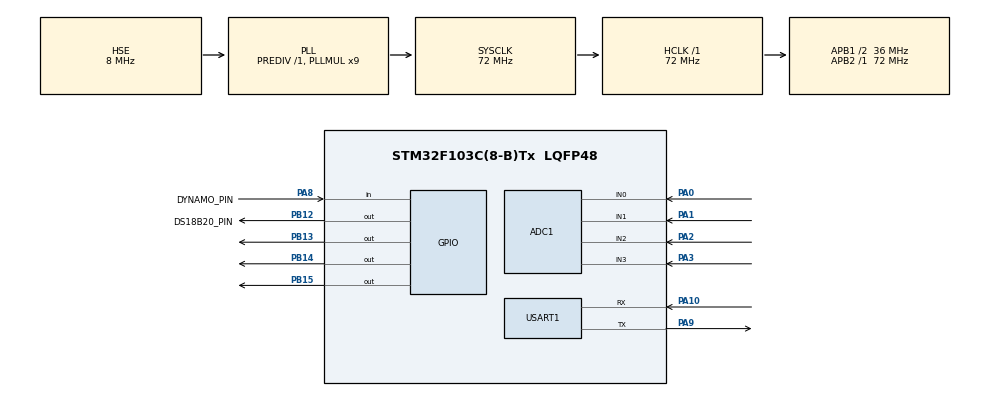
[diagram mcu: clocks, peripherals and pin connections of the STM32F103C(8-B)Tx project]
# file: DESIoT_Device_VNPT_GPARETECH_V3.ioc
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ADC1.Channel-4\#ChannelRegularConversion=ADC_CHANNEL_0
ADC1.Channel-5\#ChannelRegularConversion=ADC_CHANNEL_1
ADC1.Channel-6\#ChannelRegularConversion=ADC_CHANNEL_2
ADC1.Channel-7\#ChannelRegularConversion=ADC_CHANNEL_3
ADC1.NbrOfConversion=4
ADC1.NbrOfConversionFlag=1
ADC1.Rank-4\#ChannelRegularConversion=1
ADC1.Rank-5\#ChannelRegularConversion=2
ADC1.Rank-6\#ChannelRegularConversion=3
ADC1.Rank-7\#ChannelRegularConversion=4
ADC1.SamplingTime-4\#ChannelRegularConversion=ADC_SAMPLETIME_13CYCLES_5
ADC1.SamplingTime-5\#ChannelRegularConversion=ADC_SAMPLETIME_13CYCLES_5
ADC1.SamplingTime-6\#ChannelRegularConversion=ADC_SAMPLETIME_13CYCLES_5
ADC1.SamplingTime-7\#ChannelRegularConversion=ADC_SAMPLETIME_13CYCLES_5
ADC1.master=1
Dma.ADC1.0.Direction=DMA_PERIPH_TO_MEMORY
Dma.ADC1.0.Instance=DMA1_Channel1
Dma.ADC1.0.MemDataAlignment=DMA_MDATAALIGN_HALFWORD
Dma.ADC1.0.MemInc=DMA_MINC_ENABLE
Dma.ADC1.0.Mode=DMA_CIRCULAR
Dma.ADC1.0.PeriphDataAlignment=DMA_PDATAALIGN_HALFWORD
Dma.ADC1.0.PeriphInc=DMA_PINC_DISABLE
Dma.ADC1.0.Priority=DMA_PRIORITY_LOW
Dma.Request0=ADC1
Mcu.Family=STM32F1
Mcu.Name=STM32F103C(8-B)Tx
Mcu.Package=LQFP48
NVIC.ADC1_2_IRQn=true\:0\:0\:false\:false\:true\:true\:true\:true
NVIC.DMA1_Channel1_IRQn=true\:0\:0\:false\:false\:true\:false\:true\:true
NVIC.PriorityGroup=NVIC_PRIORITYGROUP_4
NVIC.USART1_IRQn=true\:0\:0\:false\:false\:true\:true\:true\:true
PA0-WKUP.Signal=ADCx_IN0
PA1.Signal=ADCx_IN1
PA10.Mode=Asynchronous
PA10.Signal=USART1_RX
PA13.Mode=Serial_Wire
PA13.Signal=SYS_JTMS-SWDIO
PA14.Mode=Serial_Wire
PA14.Signal=SYS_JTCK-SWCLK
PA2.Signal=ADCx_IN2
PA3.Signal=ADCx_IN3
PA8.GPIO_Label=DYNAMO_PIN
PA8.Signal=GPIO_Input
PA9.Mode=Asynchronous
PA9.Signal=USART1_TX
PB12.GPIO_Label=DS18B20_PIN
PB12.Signal=GPIO_Output
PB13.Signal=GPIO_Output
PB14.Signal=GPIO_Output
PB15.Signal=GPIO_Output
PD0-OSC_IN.Mode=HSE-External-Oscillator
PD0-OSC_IN.Signal=RCC_OSC_IN
PD1-OSC_OUT.Mode=HSE-External-Oscillator
PD1-OSC_OUT.Signal=RCC_OSC_OUT
ProjectManager.HeapSize=0x200
ProjectManager.StackSize=0x400
ProjectManager.TargetToolchain=STM32CubeIDE
RCC.ADCPresc=RCC_ADCPCLK2_DIV6
RCC.AHBFreq_Value=72000000
RCC.APB1CLKDivider=RCC_HCLK_DIV2
RCC.APB1Freq_Value=36000000
RCC.APB1TimFreq_Value=72000000
RCC.APB2Freq_Value=72000000
RCC.APB2TimFreq_Value=72000000
RCC.HCLKFreq_Value=72000000
RCC.PLLMUL=RCC_PLL_MUL9
RCC.PLLSourceVirtual=RCC_PLLSOURCE_HSE
RCC.SYSCLKFreq_VALUE=72000000
RCC.SYSCLKSource=RCC_SYSCLKSOURCE_PLLCLK
RCC.USBFreq_Value=72000000
SH.ADCx_IN0.0=ADC1_IN0,IN0
SH.ADCx_IN1.0=ADC1_IN1,IN1
SH.ADCx_IN2.0=ADC1_IN2,IN2
SH.ADCx_IN3.0=ADC1_IN3,IN3
TIM2.Prescaler=72-1
USART1.VirtualMode=VM_ASYNC
VP_TIM2_VS_ClockSourceINT.Mode=Internal
board=custom

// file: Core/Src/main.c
/* USER CODE BEGIN Header */
/**
 ******************************************************************************
 * @file           : main.c
 * @brief          : Main program body
 ******************************************************************************
 * @attention
 *
 * Copyright (c) 2023 STMicroelectronics.
 * All rights reserved.
 *
 * This software is licensed under terms that can be found in the LICENSE file
 * in the root directory of this software component.
 * If no LICENSE file comes with this software, it is provided AS-IS.
 *
 ******************************************************************************
 */
/* USER CODE END Header */
#include "main.h"

/* USER CODE BEGIN Includes */
#define DESIOT_CONFIG_ID "64ce19466cdcf43ceb825ca9"
#define DESIOT_DEVICE_ID "64ce19506cdcf43ceb825cad"

#include <stdlib.h>
#include <time.h>
#include <math.h>

#include "DESIoT_device.h"
/* USER CODE END Includes */

/* USER CODE BEGIN PD */
#define DS18B20_PORT GPIOB
#define DS18B20_PIN GPIO_PIN_12
/* USER CODE END PD */

ADC_HandleTypeDef hadc1;
DMA_HandleTypeDef hdma_adc1;

TIM_HandleTypeDef htim2;

UART_HandleTypeDef huart1;

/* USER CODE BEGIN PV */
uint8_t ITReceive;
uint32_t lastTick = 0;
uint8_t testMode;
uint8_t btnFlag = 0;

uint8_t Presence = 0;
uint8_t Temp_byte1, Temp_byte2;
uint16_t TEMP;
float Temperature = 0;

// vol and curr
uint16_t Gb_suiAdcValue[4] = {0,};
uint16_t Gb_suiCountReadAdc = 0;
uint32_t Gb_uiAdcSum[2] = {0,};

uint16_t Gb_suiAdcMaxValue[2] = {0,0};
uint16_t Gb_suiAdcMinValue[2] = {4095,4095};

int16_t Gb_suiAdcTemp[2] = {0,};
float Gb_fVolValue[2] = {0,};
float Gb_fAmpValue[2] = {0,};
float lfAveAdc[2];
const int Gb_culVperAmp = 100;

/* USER CODE END PV */

void SystemClock_Config(void);
static void MX_GPIO_Init(void);
static void MX_DMA_Init(void);
static void MX_ADC1_Init(void);
static void MX_TIM2_Init(void);
static void MX_USART1_UART_Init(void);

/* USER CODE BEGIN 0 */
void getSensorValue();
void getTemperature();
uint8_t DS18B20_Read (void);
void Set_Pin_Input (GPIO_TypeDef *GPIOx, uint16_t GPIO_Pin);
void Set_Pin_Output (GPIO_TypeDef *GPIOx, uint16_t GPIO_Pin);
void delay (uint16_t time);
void DS18B20_Write (uint8_t data);
uint8_t DS18B20_Start (void);
/* USER CODE END 0 */

int main(void)
{

	/* MCU Configuration--------------------------------------------------------*/

	/* Reset of all peripherals, Initializes the Flash interface and the Systick. */
	HAL_Init();

	/* Configure the system clock */
	SystemClock_Config();

	/* Initialize all configured peripherals */
	MX_GPIO_Init();
	MX_DMA_Init();
	MX_ADC1_Init();
	MX_TIM2_Init();
	MX_USART1_UART_Init();
	/* USER CODE BEGIN 2 */
	// vol and curr
	HAL_ADC_Start_DMA(&hadc1,(uint32_t*) Gb_suiAdcValue, 4);
	HAL_ADC_Start_IT(&hadc1);

	HAL_UART_Receive_IT(&huart1, &ITReceive, 1);

	HAL_TIM_Base_Start(&htim2);

	DESIoT_begin();

	DESIoT_readVS(DESIOT_VS1);
	DESIoT_readVS(DESIOT_VS3);
	DESIoT_readVS(DESIOT_VS4);
	/* USER CODE END 2 */

	/* Infinite loop */
	while (1)
	{

		/* USER CODE BEGIN 3 */
		DESIoT_loop();

		if(Gb_suiCountReadAdc>=40000){
			Gb_suiCountReadAdc = 0;
			lfAveAdc[0] = Gb_uiAdcSum[0]/40000.0;
			Gb_fVolValue[0] = (sqrt(lfAveAdc[0]))*1.41;

			lfAveAdc[1] = Gb_uiAdcSum[1]/40000.0;
			Gb_fVolValue[1] = (sqrt(lfAveAdc[1]))*1.41;

			float lfVol;
			float VRMS ;
			lfVol = ((float) (Gb_suiAdcMaxValue[0] - Gb_suiAdcMinValue[0]) * 3.3)/ 4095.0;
			VRMS = (lfVol) *0.707;   //root 2 is 0.707
			Gb_fAmpValue[0] = (VRMS * 1000)/Gb_culVperAmp;

			lfVol = ((float) (Gb_suiAdcMaxValue[1] - Gb_suiAdcMinValue[1]) * 3.3)/ 4095.0;
			VRMS = (lfVol) *0.707;   //root 2 is 0.707
			Gb_fAmpValue[1] = (VRMS * 1000)/Gb_culVperAmp;

			//		  if(Gb_fVolValue[0] < 15.0) Gb_fVolValue[0] = 0.0;
			//		  if(Gb_fVolValue[1] < 15.0) Gb_fVolValue[1] = 0.0;
			//		  if(Gb_fAmpValue[0] < 0.31) Gb_fAmpValue[0] = 0.0;
			//		  if(Gb_fAmpValue[1] < 0.31) Gb_fAmpValue[1] = 0.0;

			Gb_suiAdcMaxValue[0] = 0;
			Gb_suiAdcMaxValue[1] = 0;

			Gb_suiAdcMinValue[0] = 4095.0;
			Gb_suiAdcMinValue[1] = 4095.0;
			Gb_uiAdcSum[0] = 0;
			Gb_uiAdcSum[1] = 0;
		}

		uint32_t currentTick = HAL_GetTick();
		if(currentTick - lastTick > 2500)
		{
			lastTick = currentTick;
			getSensorValue();
			DESIoT_assignFloat(DESIOT_VS0, Temperature);
			DESIoT_assignInt(DESIOT_VS2, lastTick);

			DESIoT_assignFloat(DESIOT_VS5, Gb_fAmpValue[0]);
			DESIoT_assignFloat(DESIOT_VS6, Gb_fAmpValue[1]);
			DESIoT_assignFloat(DESIOT_VS7, Gb_fVolValue[0]);
			DESIoT_assignFloat(DESIOT_VS8, Gb_fVolValue[1]);

			//
			char str[50];
			sprintf(str, "Current Tick: %ld", lastTick);
			DESIoT_assignString(DESIOT_VS9, str);
		}

	}
	/* USER CODE END 3 */
}

void SystemClock_Config(void)
{
	RCC_OscInitTypeDef RCC_OscInitStruct = {0};
	RCC_ClkInitTypeDef RCC_ClkInitStruct = {0};
	RCC_PeriphCLKInitTypeDef PeriphClkInit = {0};

	/** Initializes the RCC Oscillators according to the specified parameters
	 * in the RCC_OscInitTypeDef structure.
	 */
	RCC_OscInitStruct.OscillatorType = RCC_OSCILLATORTYPE_HSE;
	RCC_OscInitStruct.HSEState = RCC_HSE_ON;
	RCC_OscInitStruct.HSEPredivValue = RCC_HSE_PREDIV_DIV1;
	RCC_OscInitStruct.HSIState = RCC_HSI_ON;
	RCC_OscInitStruct.PLL.PLLState = RCC_PLL_ON;
	RCC_OscInitStruct.PLL.PLLSource = RCC_PLLSOURCE_HSE;
	RCC_OscInitStruct.PLL.PLLMUL = RCC_PLL_MUL9;
	if (HAL_RCC_OscConfig(&RCC_OscInitStruct) != HAL_OK)
	{
		Error_Handler();
	}

	/** Initializes the CPU, AHB and APB buses clocks
	 */
	RCC_ClkInitStruct.ClockType = RCC_CLOCKTYPE_HCLK|RCC_CLOCKTYPE_SYSCLK
			|RCC_CLOCKTYPE_PCLK1|RCC_CLOCKTYPE_PCLK2;
	RCC_ClkInitStruct.SYSCLKSource = RCC_SYSCLKSOURCE_PLLCLK;
	RCC_ClkInitStruct.AHBCLKDivider = RCC_SYSCLK_DIV1;
	RCC_ClkInitStruct.APB1CLKDivider = RCC_HCLK_DIV2;
	RCC_ClkInitStruct.APB2CLKDivider = RCC_HCLK_DIV1;

	if (HAL_RCC_ClockConfig(&RCC_ClkInitStruct, FLASH_LATENCY_2) != HAL_OK)
	{
		Error_Handler();
	}
	PeriphClkInit.PeriphClockSelection = RCC_PERIPHCLK_ADC;
	PeriphClkInit.AdcClockSelection = RCC_ADCPCLK2_DIV6;
	if (HAL_RCCEx_PeriphCLKConfig(&PeriphClkInit) != HAL_OK)
	{
		Error_Handler();
	}
}

static void MX_ADC1_Init(void)
{

	ADC_ChannelConfTypeDef sConfig = {0};

	/** Common config
	 */
	hadc1.Instance = ADC1;
	hadc1.Init.ScanConvMode = ADC_SCAN_ENABLE;
	hadc1.Init.ContinuousConvMode = DISABLE;
	hadc1.Init.DiscontinuousConvMode = DISABLE;
	hadc1.Init.ExternalTrigConv = ADC_SOFTWARE_START;
	hadc1.Init.DataAlign = ADC_DATAALIGN_RIGHT;
	hadc1.Init.NbrOfConversion = 4;
	if (HAL_ADC_Init(&hadc1) != HAL_OK)
	{
		Error_Handler();
	}

	/** Configure Regular Channel
	 */
	sConfig.Channel = ADC_CHANNEL_0;
	sConfig.Rank = ADC_REGULAR_RANK_1;
	sConfig.SamplingTime = ADC_SAMPLETIME_13CYCLES_5;
	if (HAL_ADC_ConfigChannel(&hadc1, &sConfig) != HAL_OK)
	{
		Error_Handler();
	}

	/** Configure Regular Channel
	 */
	sConfig.Channel = ADC_CHANNEL_1;
	sConfig.Rank = ADC_REGULAR_RANK_2;
	if (HAL_ADC_ConfigChannel(&hadc1, &sConfig) != HAL_OK)
	{
		Error_Handler();
	}

	/** Configure Regular Channel
	 */
	sConfig.Channel = ADC_CHANNEL_2;
	sConfig.Rank = ADC_REGULAR_RANK_3;
	if (HAL_ADC_ConfigChannel(&hadc1, &sConfig) != HAL_OK)
	{
		Error_Handler();
	}

	/** Configure Regular Channel
	 */
	sConfig.Channel = ADC_CHANNEL_3;
	sConfig.Rank = ADC_REGULAR_RANK_4;
	if (HAL_ADC_ConfigChannel(&hadc1, &sConfig) != HAL_OK)
	{
		Error_Handler();
	}

}

static void MX_TIM2_Init(void)
{

	TIM_ClockConfigTypeDef sClockSourceConfig = {0};
	TIM_MasterConfigTypeDef sMasterConfig = {0};

	htim2.Instance = TIM2;
	htim2.Init.Prescaler = 72-1;
	htim2.Init.CounterMode = TIM_COUNTERMODE_UP;
	htim2.Init.Period = 65535;
	htim2.Init.ClockDivision = TIM_CLOCKDIVISION_DIV1;
	htim2.Init.AutoReloadPreload = TIM_AUTORELOAD_PRELOAD_DISABLE;
	if (HAL_TIM_Base_Init(&htim2) != HAL_OK)
	{
		Error_Handler();
	}
	sClockSourceConfig.ClockSource = TIM_CLOCKSOURCE_INTERNAL;
	if (HAL_TIM_ConfigClockSource(&htim2, &sClockSourceConfig) != HAL_OK)
	{
		Error_Handler();
	}
	sMasterConfig.MasterOutputTrigger = TIM_TRGO_RESET;
	sMasterConfig.MasterSlaveMode = TIM_MASTERSLAVEMODE_DISABLE;
	if (HAL_TIMEx_MasterConfigSynchronization(&htim2, &sMasterConfig) != HAL_OK)
	{
		Error_Handler();
	}

}

static void MX_USART1_UART_Init(void)
{

	huart1.Instance = USART1;
	huart1.Init.BaudRate = 115200;
	huart1.Init.WordLength = UART_WORDLENGTH_8B;
	huart1.Init.StopBits = UART_STOPBITS_1;
	huart1.Init.Parity = UART_PARITY_NONE;
	huart1.Init.Mode = UART_MODE_TX_RX;
	huart1.Init.HwFlowCtl = UART_HWCONTROL_NONE;
	huart1.Init.OverSampling = UART_OVERSAMPLING_16;
	if (HAL_UART_Init(&huart1) != HAL_OK)
	{
		Error_Handler();
	}

}

static void MX_DMA_Init(void)
{

	/* DMA controller clock enable */
	__HAL_RCC_DMA1_CLK_ENABLE();

	/* DMA interrupt init */
	/* DMA1_Channel1_IRQn interrupt configuration */
	HAL_NVIC_SetPriority(DMA1_Channel1_IRQn, 0, 0);
	HAL_NVIC_EnableIRQ(DMA1_Channel1_IRQn);

}

static void MX_GPIO_Init(void)
{
	GPIO_InitTypeDef GPIO_InitStruct = {0};

	/* GPIO Ports Clock Enable */
	__HAL_RCC_GPIOD_CLK_ENABLE();
	__HAL_RCC_GPIOA_CLK_ENABLE();
	__HAL_RCC_GPIOB_CLK_ENABLE();

	/*Configure GPIO pin Output Level */
	HAL_GPIO_WritePin(GPIOB, DS18B20_PIN_Pin|GPIO_PIN_13|GPIO_PIN_14|GPIO_PIN_15, GPIO_PIN_RESET);

	/*Configure GPIO pins : DS18B20_PIN_Pin PB13 PB14 PB15 */
	GPIO_InitStruct.Pin = DS18B20_PIN_Pin|GPIO_PIN_13|GPIO_PIN_14|GPIO_PIN_15;
	GPIO_InitStruct.Mode = GPIO_MODE_OUTPUT_PP;
	GPIO_InitStruct.Pull = GPIO_NOPULL;
	GPIO_InitStruct.Speed = GPIO_SPEED_FREQ_LOW;
	HAL_GPIO_Init(GPIOB, &GPIO_InitStruct);

	/*Configure GPIO pin : DYNAMO_PIN_Pin */
	GPIO_InitStruct.Pin = DYNAMO_PIN_Pin;
	GPIO_InitStruct.Mode = GPIO_MODE_INPUT;
	GPIO_InitStruct.Pull = GPIO_NOPULL;
	HAL_GPIO_Init(DYNAMO_PIN_GPIO_Port, &GPIO_InitStruct);

}

/* USER CODE BEGIN 4 */
void HAL_UART_RxCpltCallback(UART_HandleTypeDef *huart)
{
	uint8_t rxByte = huart->Instance->DR;
	DESIOT_Rx1byte(rxByte);
	HAL_UART_Receive_IT(huart, &ITReceive, 1);
}
DESIOT_SENDBYTES
{
	while(HAL_UART_Transmit(&huart1, bytes, size, 1000) != HAL_OK);
}
DESIOT_MILLIS {
	return HAL_GetTick();
}

DESIOT_DEF_EXEC_SYNC(DESIOT_VS1) {
	testMode = payload[0];
}
DESIOT_DEF_EXEC_SYNC(DESIOT_VS3) {
	HAL_GPIO_WritePin(GPIOB, GPIO_PIN_14, payload[0]);
	HAL_GPIO_WritePin(GPIOB, GPIO_PIN_13, GPIO_PIN_SET);
	HAL_GPIO_WritePin(GPIOB, GPIO_PIN_13, GPIO_PIN_RESET);
}

DESIOT_DEF_EXEC_SYNC(DESIOT_VS4) {
	HAL_GPIO_WritePin(GPIOB, GPIO_PIN_15, payload[0]);
	HAL_GPIO_WritePin(GPIOB, GPIO_PIN_13, GPIO_PIN_SET);
	HAL_GPIO_WritePin(GPIOB, GPIO_PIN_13, GPIO_PIN_RESET);
}

void getSensorValue()
{
	getTemperature();
}

void getTemperature()
{
	HAL_ADC_Stop_DMA(&hadc1);
	HAL_ADC_Stop_IT(&hadc1);

	Presence = DS18B20_Start ();
	delay(1);
	DS18B20_Write (0xCC);  // skip ROM
	DS18B20_Write (0x44);  // convert t
	delay(1);

	Presence = DS18B20_Start ();
	delay(1);
	DS18B20_Write (0xCC);  // skip ROM
	DS18B20_Write (0xBE);  // Read Scratch-pad

	Temp_byte1 = DS18B20_Read();
	Temp_byte2 = DS18B20_Read();
	TEMP = (Temp_byte2<<8)|Temp_byte1;
	Temperature = (float)TEMP/16;

	HAL_ADC_Start_DMA(&hadc1,(uint32_t*) Gb_suiAdcValue, 4);
	HAL_ADC_Start_IT(&hadc1);
}

uint8_t DS18B20_Read (void)
{
	uint8_t value=0;

	Set_Pin_Input(DS18B20_PORT, DS18B20_PIN);

	for (int i=0;i<8;i++)
	{
		Set_Pin_Output(DS18B20_PORT, DS18B20_PIN);   // set as output

		HAL_GPIO_WritePin (DS18B20_PORT, DS18B20_PIN, 0);  // pull the data pin LOW
		delay (1);  // wait for > 1us

		Set_Pin_Input(DS18B20_PORT, DS18B20_PIN);  // set as input
		if (HAL_GPIO_ReadPin (DS18B20_PORT, DS18B20_PIN))  // if the pin is HIGH
		{
			value |= 1<<i;  // read = 1
		}
		delay (50);  // wait for 60 us
	}
	return value;
}

void Set_Pin_Input (GPIO_TypeDef *GPIOx, uint16_t GPIO_Pin)
{
	GPIO_InitTypeDef GPIO_InitStruct = {0};
	GPIO_InitStruct.Pin = GPIO_Pin;
	GPIO_InitStruct.Mode = GPIO_MODE_INPUT;
	GPIO_InitStruct.Pull = GPIO_PULLUP;
	HAL_GPIO_Init(GPIOx, &GPIO_InitStruct);
}
void Set_Pin_Output (GPIO_TypeDef *GPIOx, uint16_t GPIO_Pin)
{
	GPIO_InitTypeDef GPIO_InitStruct = {0};
	GPIO_InitStruct.Pin = GPIO_Pin;
	GPIO_InitStruct.Mode = GPIO_MODE_OUTPUT_PP;
	GPIO_InitStruct.Speed = GPIO_SPEED_FREQ_LOW;
	HAL_GPIO_Init(GPIOx, &GPIO_InitStruct);
}
void delay (uint16_t time)
{
	/* change your code here for the delay in microseconds */
	__HAL_TIM_SET_COUNTER(&htim2, 0);
	while ((__HAL_TIM_GET_COUNTER(&htim2))<time);
}
void DS18B20_Write (uint8_t data)
{
	Set_Pin_Output(DS18B20_PORT, DS18B20_PIN);  // set as output

	for (int i=0; i<8; i++)
	{

		if ((data & (1<<i))!=0)  // if the bit is high
		{
			// write 1

			Set_Pin_Output(DS18B20_PORT, DS18B20_PIN);  // set as output
			HAL_GPIO_WritePin (DS18B20_PORT, DS18B20_PIN, 0);  // pull the pin LOW
			delay (1);  // wait for 1 us

			Set_Pin_Input(DS18B20_PORT, DS18B20_PIN);  // set as input
			delay (50);  // wait for 60 us
		}

		else  // if the bit is low
		{
			// write 0

			Set_Pin_Output(DS18B20_PORT, DS18B20_PIN);
			HAL_GPIO_WritePin (DS18B20_PORT, DS18B20_PIN, 0);  // pull the pin LOW
			delay (50);  // wait for 60 us

			Set_Pin_Input(DS18B20_PORT, DS18B20_PIN);
		}
	}
}
uint8_t DS18B20_Start (void)
{
	uint8_t Response = 0;
	Set_Pin_Output(DS18B20_PORT, DS18B20_PIN);   // set the pin as output
	HAL_GPIO_WritePin (DS18B20_PORT, DS18B20_PIN, 0);  // pull the pin low
	delay (480);   // delay according to datasheet

	Set_Pin_Input(DS18B20_PORT, DS18B20_PIN);    // set the pin as input
	delay (80);    // delay according to datasheet

	if (!(HAL_GPIO_ReadPin (DS18B20_PORT, DS18B20_PIN))) Response = 1;    // if the pin is low i.e the presence pulse is detected
	else Response = -1;

	delay (400); // 480 us delay totally.

	return Response;
}

void HAL_ADC_ConvCpltCallback(ADC_HandleTypeDef* hadc){
	if(hadc->Instance == hadc1.Instance){
		Gb_suiCountReadAdc++;
		Gb_suiAdcTemp[0] = Gb_suiAdcValue[0] - 1977;
		Gb_suiAdcTemp[1] = Gb_suiAdcValue[1] - 1977;
		Gb_uiAdcSum[0] += (Gb_suiAdcTemp[0])*(Gb_suiAdcTemp[0]);
		Gb_uiAdcSum[1] += (Gb_suiAdcTemp[1])*(Gb_suiAdcTemp[1]);

		if (Gb_suiAdcValue[2] > Gb_suiAdcMaxValue[0]){
			Gb_suiAdcMaxValue[0] = Gb_suiAdcValue[2];
		}
		if (Gb_suiAdcValue[2] < Gb_suiAdcMinValue[0]){
			/*record the minimum sensor value*/
			Gb_suiAdcMinValue[0] = Gb_suiAdcValue[2];
		}

		if (Gb_suiAdcValue[3] > Gb_suiAdcMaxValue[1]){
			/*record the maximum sensor value*/
			Gb_suiAdcMaxValue[1] = Gb_suiAdcValue[3];
		}
		if (Gb_suiAdcValue[3] < Gb_suiAdcMinValue[1]){
			/*record the minimum sensor value*/
			Gb_suiAdcMinValue[1] = Gb_suiAdcValue[3];
		}

		HAL_ADC_Start_IT(&hadc1);
	}
}
/* USER CODE END 4 */

void Error_Handler(void)
{
	__disable_irq();
	while (1)
	{
	}
}
